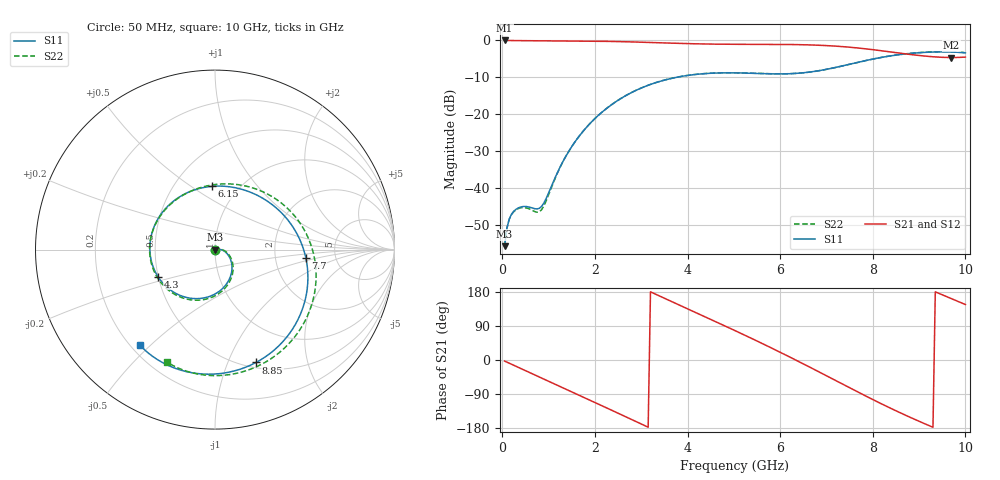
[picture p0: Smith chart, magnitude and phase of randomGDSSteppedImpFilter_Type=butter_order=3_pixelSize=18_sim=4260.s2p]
! freq	dB(S11)	phase(S11)	dB(S12)	phase(S12)
!  dB(S21)	phase(S21)	dB(S22)	phase(S22)
!S-par simulation data
#  GHz  S  DB  R 50
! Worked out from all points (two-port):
!   200 points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, 50 MHz to 10 GHz, reference 50 ohm
!   highest |S21| = -0.02 dB at 50 MHz (marker M1); lowest = -4.6 dB at 9.7 GHz (marker M2)
!   |S21| within 3 dB of the highest: start of sweep to 8.318 GHz
!   lowest |S11| = -55.7 dB at 50 MHz (marker M3), VSWR 1.00, Z = 50.2 - j0.038 ohm
!   |S11| at or under -10 dB: start of sweep to 3.765 GHz
!   |S22| runs from -55.7 to -3.1 dB; largest |S21 - S12| = 0
!   S11 on the Smith chart (normalised r, x): 50 MHz: 1.00, -0.00; 4.3 GHz: 0.50, -0.17; 6.15 GHz: 0.75, +0.61; 7.7 GHz: 3.01, -0.37; 8.85 GHz: 0.56, -1.27; 10 GHz: 0.24, -0.47
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0.05  -55.74 -13.4  -0.02 -2.8  -0.02 -2.8  -55.74 -13.3
0.1  -50.82 -23.4  -0.03 -5.6  -0.03 -5.6  -50.85 -23.4
0.2  -47.06 -34.9  -0.05 -11.2  -0.05 -11.2  -47.14 -34.9
0.4  -45.12 -48.9  -0.07 -22.3  -0.07 -22.3  -45.34 -49.2
0.85  -44.94 -23.5  -0.11 -47.4  -0.11 -47.4  -45.85 -19.4
1.3  -33.03 4.6  -0.14 -72.5  -0.14 -72.5  -33.10 9.1
1.75  -24.53 -12.9  -0.18 -97.9  -0.18 -97.9  -24.53 -9.4
2.15  -19.47 -33.8  -0.24 -120.5  -0.24 -120.5  -19.47 -30.4
2.65  -15.08 -61.5  -0.37 -149.0  -0.37 -149.0  -15.07 -57.9
3  -12.91 -81.2  -0.49 -168.9  -0.49 -168.9  -12.90 -77.3
3.4  -11.11 -103.8  -0.65 168.6  -0.65 168.6  -11.10 -99.4
4.3  -9.08 -154.6  -0.96 118.3  -0.96 118.3  -9.06 -148.1
5.05  -8.80 161.7  -1.06 76.2  -1.06 76.2  -8.78 171.4
5.55  -8.98 131.1  -1.07 47.2  -1.07 47.2  -8.96 143.8
6.15  -9.05 92.9  -1.11 11.3  -1.11 11.3  -9.05 109.5
6.7  -8.48 57.3  -1.25 -22.6  -1.25 -22.6  -8.49 76.3
7.25  -7.18 22.4  -1.60 -57.4  -1.60 -57.4  -7.20 41.7
7.7  -5.88 -5.1  -2.09 -85.8  -2.09 -85.8  -5.89 13.1
8.35  -4.27 -42.9  -3.07 -125.3  -3.07 -125.3  -4.25 -26.7
8.85  -3.49 -70.0  -3.88 -153.6  -3.88 -153.6  -3.46 -54.8
9.7  -3.16 -112.9  -4.65 161.9  -4.65 161.9  -3.10 -98.2
10  -3.38 -128.0  -4.53 146.4  -4.53 146.4  -3.33 -113.1
